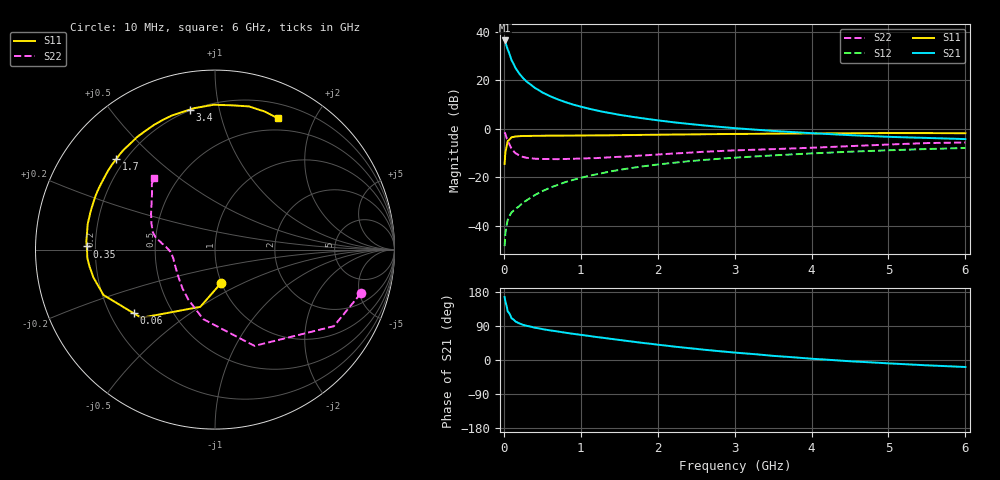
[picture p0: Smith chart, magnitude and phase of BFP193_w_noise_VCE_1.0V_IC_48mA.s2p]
! (c) 2017  Infineon Technologies AG, Munich
! Infineon Technologies  Discrete & RF Semiconductors
! BFP193
! VCE =  1.0 V,  IC =  48 mA
! Common Emitter S-Parameters:  Jan 2017
# GHz  S  MA  R  50
!  f  S11  S21  S12  S22
! GHz  MAG  ANG  MAG  ANG  MAG  ANG  MAG  ANG
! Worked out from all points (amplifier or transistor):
!   77 points, 10 MHz to 6 GHz, reference 50 ohm
!   highest |S21| = 36.5 dB at 10 MHz (marker M1)
!   |S21| within 3 dB of that: start of sweep to 42.62 MHz
!   unconditionally stable (mu >= 1): 372.9 MHz to 3.346 GHz
!   at 130 MHz: K = 0.68, MSG = 30.1 dB, |S12| = -33.6 dB
!   at 2.2 GHz: K = 1.03, MAG = 7.3 dB, |S12| = -14.0 dB
!   at 6 GHz: K = 0.99, MSG = 1.8 dB, |S12| = -7.9 dB
!   lowest NFmin = 1.49 dB at 450 MHz
!   S11 on the Smith chart (normalised r, x): 10 MHz: 1.00, -0.39; 60 MHz: 0.30, -0.32; 350 MHz: 0.17, +0.01; 1.7 GHz: 0.17, +0.38; 3.4 GHz: 0.19, +0.82; 6 GHz: 0.36, +1.53
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0.01  0.1897 -79.8  66.52 166.1  0.0038 78.4  0.8483 -16.7
0.02  0.3291 -104.4  62.09 153.8  0.0069 70.7  0.7878 -32.8
0.05  0.5593 -137.2  43.42 128.5  0.0132 52.0  0.5798 -67.7
0.06  0.575 -141.9  39.73 126.1  0.0143 52.0  0.5322 -72.2
0.1  0.6709 -157.8  26.13 110.1  0.0188 52.1  0.3928 -99.6
0.15  0.6947 -167.0  18.13 101.8  0.0221 54.5  0.3165 -117.8
0.2  0.7053 -172.2  13.81 96.6  0.0254 58.0  0.2823 -129.8
0.25  0.7129 -176.3  11.13 92.8  0.0302 59.7  0.2628 -138.3
0.3  0.7126 -179.1  9.313 90.0  0.0338 62.8  0.2522 -145.0
0.35  0.7148 178.6  8.17 88.0  0.0382 64.0  0.2465 -149.3
0.4  0.7182 176.3  7.041 85.3  0.0427 64.9  0.2422 -153.8
0.5  0.7192 172.3  5.642 81.6  0.0518 65.9  0.2389 -159.5
0.6  0.7234 168.7  4.726 78.2  0.061 66.2  0.238 -164.2
0.8  0.7252 162.6  3.56 72.0  0.0796 66.6  0.2389 -170.1
1.1  0.7311 153.9  2.619 63.7  0.1069 64.0  0.2471 -175.9
1.7  0.7458 137.5  1.742 47.8  0.1592 56.5  0.2762 176.6
2.1  0.7581 127.2  1.432 38.2  0.1912 50.8  0.3021 172.6
3.1  0.7856 105.8  1.006 18.0  0.2596 37.1  0.3639 163.0
3.4  0.7925 100.3  0.93 12.8  0.2774 33.4  0.3769 159.2
4.1  0.8065 89.0  0.799 2.1  0.3164 24.8  0.4137 149.3
5.1  0.8187 75.3  0.677 -9.9  0.3655 13.0  0.4814 136.8
6  0.811 64.3  0.614 -18.5  0.4031 3.0  0.5233 130.3
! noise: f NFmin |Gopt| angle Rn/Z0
0.45  1.49  0.42  -171  0.08
0.9  1.54  0.44  -164  0.08
1.9  2.17  0.61  -132  0.22
2.4  2.5  0.64  -119  0.47
